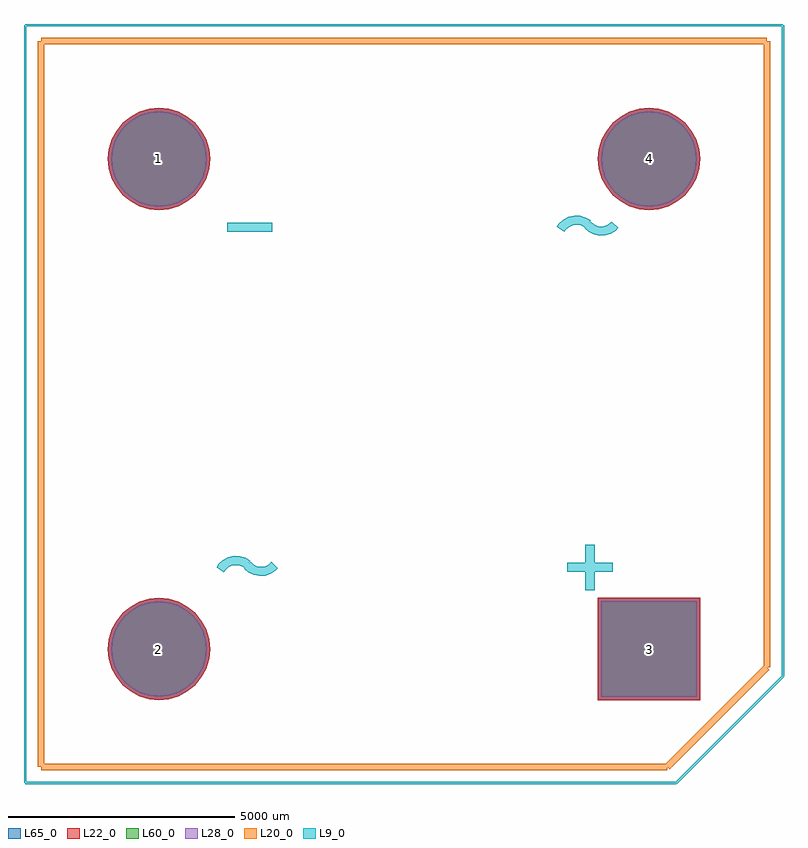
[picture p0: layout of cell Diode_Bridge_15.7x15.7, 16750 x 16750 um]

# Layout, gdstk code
import gdstk
lib = gdstk.Library(unit=1e-6, precision=1e-09)
def R(c, l, rs):  # rectangles x0, y0, x1, y1
    for r in rs: c.add(gdstk.rectangle(r[:2], r[2:], *l))
def P(c, l, *ps):  # polygons
    for p in ps: c.add(gdstk.Polygon(p, *l))
L9_0 = (9, 0)
L20_0 = (20, 0)
L22_0 = (22, 0)
L28_0 = (28, 0)
L60_0 = (60, 0)
L65_0 = (65, 0)

diode_bridge_15_7x15_7 = lib.new_cell('Diode_Bridge_15.7x15.7')
R(diode_bridge_15_7x15_7, L22_0, [(9675,-11925,11925,-9675)])
P(diode_bridge_15_7x15_7, L22_0, [(11925,0),(11903.383,219.477),(11839.364,430.519),(11735.403,625.017),(11595.495,795.495),(11425.017,935.403),(11230.519,1039.364),(11019.477,1103.383),(10800,1125),(10580.523,1103.383),(10369.481,1039.364),(10174.983,935.403),(10004.505,795.495),(9864.597,625.017),(9760.636,430.519),(9696.617,219.477),(9675,0),(9696.617,-219.477),(9760.636,-430.519),(9864.597,-625.017),(10004.505,-795.495),(10174.983,-935.403),(10369.481,-1039.364),(10580.523,-1103.383),(10800,-1125),(11019.477,-1103.383),(11230.519,-1039.364),(11425.017,-935.403),(11595.495,-795.495),(11735.403,-625.017),(11839.364,-430.519),(11903.383,-219.477)],
  [(1125,-10800),(1103.383,-10580.523),(1039.364,-10369.481),(935.403,-10174.983),(795.495,-10004.505),(625.017,-9864.597),(430.519,-9760.636),(219.477,-9696.617),(0,-9675),(-219.477,-9696.617),(-430.519,-9760.636),(-625.017,-9864.597),(-795.495,-10004.505),(-935.403,-10174.983),(-1039.364,-10369.481),(-1103.383,-10580.523),(-1125,-10800),(-1103.383,-11019.477),(-1039.364,-11230.519),(-935.403,-11425.017),(-795.495,-11595.495),(-625.017,-11735.403),(-430.519,-11839.364),(-219.477,-11903.383),(0,-11925),(219.477,-11903.383),(430.519,-11839.364),(625.017,-11735.403),(795.495,-11595.495),(935.403,-11425.017),(1039.364,-11230.519),(1103.383,-11019.477)],
  [(1125,0),(1103.383,219.477),(1039.364,430.519),(935.403,625.017),(795.495,795.495),(625.017,935.403),(430.519,1039.364),(219.477,1103.383),(0,1125),(-219.477,1103.383),(-430.519,1039.364),(-625.017,935.403),(-795.495,795.495),(-935.403,625.017),(-1039.364,430.519),(-1103.383,219.477),(-1125,0),(-1103.383,-219.477),(-1039.364,-430.519),(-935.403,-625.017),(-795.495,-795.495),(-625.017,-935.403),(-430.519,-1039.364),(-219.477,-1103.383),(0,-1125),(219.477,-1103.383),(430.519,-1039.364),(625.017,-935.403),(795.495,-795.495),(935.403,-625.017),(1039.364,-430.519),(1103.383,-219.477)])
R(diode_bridge_15_7x15_7, L28_0, [(9750,-11850,11850,-9750)])
P(diode_bridge_15_7x15_7, L28_0, [(11850,0),(11829.825,204.845),(11770.074,401.818),(11673.043,583.349),(11542.462,742.462),(11383.349,873.043),(11201.818,970.074),(11004.845,1029.825),(10800,1050),(10595.155,1029.825),(10398.182,970.074),(10216.651,873.043),(10057.538,742.462),(9926.957,583.349),(9829.926,401.818),(9770.175,204.845),(9750,0),(9770.175,-204.845),(9829.926,-401.818),(9926.957,-583.349),(10057.538,-742.462),(10216.651,-873.043),(10398.182,-970.074),(10595.155,-1029.825),(10800,-1050),(11004.845,-1029.825),(11201.818,-970.074),(11383.349,-873.043),(11542.462,-742.462),(11673.043,-583.349),(11770.074,-401.818),(11829.825,-204.845)],
  [(1050,-10800),(1029.825,-10595.155),(970.074,-10398.182),(873.043,-10216.651),(742.462,-10057.538),(583.349,-9926.957),(401.818,-9829.926),(204.845,-9770.175),(0,-9750),(-204.845,-9770.175),(-401.818,-9829.926),(-583.349,-9926.957),(-742.462,-10057.538),(-873.043,-10216.651),(-970.074,-10398.182),(-1029.825,-10595.155),(-1050,-10800),(-1029.825,-11004.845),(-970.074,-11201.818),(-873.043,-11383.349),(-742.462,-11542.462),(-583.349,-11673.043),(-401.818,-11770.074),(-204.845,-11829.825),(0,-11850),(204.845,-11829.825),(401.818,-11770.074),(583.349,-11673.043),(742.462,-11542.462),(873.043,-11383.349),(970.074,-11201.818),(1029.825,-11004.845)],
  [(1050,0),(1029.825,204.845),(970.074,401.818),(873.043,583.349),(742.462,742.462),(583.349,873.043),(401.818,970.074),(204.845,1029.825),(0,1050),(-204.845,1029.825),(-401.818,970.074),(-583.349,873.043),(-742.462,742.462),(-873.043,583.349),(-970.074,401.818),(-1029.825,204.845),(-1050,0),(-1029.825,-204.845),(-970.074,-401.818),(-873.043,-583.349),(-742.462,-742.462),(-583.349,-873.043),(-401.818,-970.074),(-204.845,-1029.825),(0,-1050),(204.845,-1029.825),(401.818,-970.074),(583.349,-873.043),(742.462,-742.462),(873.043,-583.349),(970.074,-401.818),(1029.825,-204.845)])
R(diode_bridge_15_7x15_7, L60_0, [(9750,-11850,11850,-9750)])
P(diode_bridge_15_7x15_7, L60_0, [(11850,0),(11829.825,204.845),(11770.074,401.818),(11673.043,583.349),(11542.462,742.462),(11383.349,873.043),(11201.818,970.074),(11004.845,1029.825),(10800,1050),(10595.155,1029.825),(10398.182,970.074),(10216.651,873.043),(10057.538,742.462),(9926.957,583.349),(9829.926,401.818),(9770.175,204.845),(9750,0),(9770.175,-204.845),(9829.926,-401.818),(9926.957,-583.349),(10057.538,-742.462),(10216.651,-873.043),(10398.182,-970.074),(10595.155,-1029.825),(10800,-1050),(11004.845,-1029.825),(11201.818,-970.074),(11383.349,-873.043),(11542.462,-742.462),(11673.043,-583.349),(11770.074,-401.818),(11829.825,-204.845)],
  [(1050,-10800),(1029.825,-10595.155),(970.074,-10398.182),(873.043,-10216.651),(742.462,-10057.538),(583.349,-9926.957),(401.818,-9829.926),(204.845,-9770.175),(0,-9750),(-204.845,-9770.175),(-401.818,-9829.926),(-583.349,-9926.957),(-742.462,-10057.538),(-873.043,-10216.651),(-970.074,-10398.182),(-1029.825,-10595.155),(-1050,-10800),(-1029.825,-11004.845),(-970.074,-11201.818),(-873.043,-11383.349),(-742.462,-11542.462),(-583.349,-11673.043),(-401.818,-11770.074),(-204.845,-11829.825),(0,-11850),(204.845,-11829.825),(401.818,-11770.074),(583.349,-11673.043),(742.462,-11542.462),(873.043,-11383.349),(970.074,-11201.818),(1029.825,-11004.845)],
  [(1050,0),(1029.825,204.845),(970.074,401.818),(873.043,583.349),(742.462,742.462),(583.349,873.043),(401.818,970.074),(204.845,1029.825),(0,1050),(-204.845,1029.825),(-401.818,970.074),(-583.349,873.043),(-742.462,742.462),(-873.043,583.349),(-970.074,401.818),(-1029.825,204.845),(-1050,0),(-1029.825,-204.845),(-970.074,-401.818),(-873.043,-583.349),(-742.462,-742.462),(-583.349,-873.043),(-401.818,-970.074),(-204.845,-1029.825),(0,-1050),(204.845,-1029.825),(401.818,-970.074),(583.349,-873.043),(742.462,-742.462),(873.043,-583.349),(970.074,-401.818),(1029.825,-204.845)])
R(diode_bridge_15_7x15_7, L65_0, [(9675,-11925,11925,-9675)])
P(diode_bridge_15_7x15_7, L65_0, [(11925,0),(11903.383,219.477),(11839.364,430.519),(11735.403,625.017),(11595.495,795.495),(11425.017,935.403),(11230.519,1039.364),(11019.477,1103.383),(10800,1125),(10580.523,1103.383),(10369.481,1039.364),(10174.983,935.403),(10004.505,795.495),(9864.597,625.017),(9760.636,430.519),(9696.617,219.477),(9675,0),(9696.617,-219.477),(9760.636,-430.519),(9864.597,-625.017),(10004.505,-795.495),(10174.983,-935.403),(10369.481,-1039.364),(10580.523,-1103.383),(10800,-1125),(11019.477,-1103.383),(11230.519,-1039.364),(11425.017,-935.403),(11595.495,-795.495),(11735.403,-625.017),(11839.364,-430.519),(11903.383,-219.477)],
  [(1125,-10800),(1103.383,-10580.523),(1039.364,-10369.481),(935.403,-10174.983),(795.495,-10004.505),(625.017,-9864.597),(430.519,-9760.636),(219.477,-9696.617),(0,-9675),(-219.477,-9696.617),(-430.519,-9760.636),(-625.017,-9864.597),(-795.495,-10004.505),(-935.403,-10174.983),(-1039.364,-10369.481),(-1103.383,-10580.523),(-1125,-10800),(-1103.383,-11019.477),(-1039.364,-11230.519),(-935.403,-11425.017),(-795.495,-11595.495),(-625.017,-11735.403),(-430.519,-11839.364),(-219.477,-11903.383),(0,-11925),(219.477,-11903.383),(430.519,-11839.364),(625.017,-11735.403),(795.495,-11595.495),(935.403,-11425.017),(1039.364,-11230.519),(1103.383,-11019.477)],
  [(1125,0),(1103.383,219.477),(1039.364,430.519),(935.403,625.017),(795.495,795.495),(625.017,935.403),(430.519,1039.364),(219.477,1103.383),(0,1125),(-219.477,1103.383),(-430.519,1039.364),(-625.017,935.403),(-795.495,795.495),(-935.403,625.017),(-1039.364,430.519),(-1103.383,219.477),(-1125,0),(-1103.383,-219.477),(-1039.364,-430.519),(-935.403,-625.017),(-795.495,-795.495),(-625.017,-935.403),(-430.519,-1039.364),(-219.477,-1103.383),(0,-1125),(219.477,-1103.383),(430.519,-1039.364),(625.017,-935.403),(795.495,-795.495),(935.403,-625.017),(1039.364,-430.519),(1103.383,-219.477)])
diode_bridge_15_7x15_7.add(gdstk.FlexPath([(-2600,-13400),(-2600,2600)], 149.998, ends="flush", simple_path=True, layer=20, datatype=0))  # L20_0
diode_bridge_15_7x15_7.add(gdstk.FlexPath([(-2600,2600),(13400,2600)], 149.998, ends="flush", simple_path=True, layer=20, datatype=0))  # L20_0
diode_bridge_15_7x15_7.add(gdstk.FlexPath([(11200,-13400),(-2600,-13400)], 149.998, ends="flush", simple_path=True, layer=20, datatype=0))  # L20_0
diode_bridge_15_7x15_7.add(gdstk.FlexPath([(13400,-11200),(11200,-13400)], 149.998, ends="flush", simple_path=True, layer=20, datatype=0))  # L20_0
diode_bridge_15_7x15_7.add(gdstk.FlexPath([(13400,2600),(13400,-11200)], 149.998, ends="flush", simple_path=True, layer=20, datatype=0))  # L20_0
diode_bridge_15_7x15_7.add(gdstk.FlexPath([(13750,2950),(13750,-11400)], 50, ends="flush", simple_path=True, layer=9, datatype=0))  # L9_0
diode_bridge_15_7x15_7.add(gdstk.FlexPath([(-2950,2950),(13750,2950)], 50, ends="flush", simple_path=True, layer=9, datatype=0))  # L9_0
diode_bridge_15_7x15_7.add(gdstk.FlexPath([(-2950,-13750),(-2950,2950)], 50, ends="flush", simple_path=True, layer=9, datatype=0))  # L9_0
diode_bridge_15_7x15_7.add(gdstk.FlexPath([(11400,-13750),(-2950,-13750)], 50, ends="flush", simple_path=True, layer=9, datatype=0))  # L9_0
diode_bridge_15_7x15_7.add(gdstk.FlexPath([(13750,-11400),(11400,-13750)], 50, ends="flush", simple_path=True, layer=9, datatype=0))  # L9_0
diode_bridge_15_7x15_7.add(gdstk.FlexPath([(2500,-1500),(1500,-1500)], 200, ends="flush", simple_path=True, layer=9, datatype=0))  # L9_0
diode_bridge_15_7x15_7.add(gdstk.FlexPath([(9500,-8500),(9500,-9500)], 200, ends="flush", simple_path=True, layer=9, datatype=0))  # L9_0
diode_bridge_15_7x15_7.add(gdstk.FlexPath([(9000,-9000),(10000,-9000)], 200, ends="flush", simple_path=True, layer=9, datatype=0))  # L9_0
diode_bridge_15_7x15_7.add(gdstk.FlexPath([(1957.738,-8940.047),(1868.734,-8883.901),(1768.231,-8852.704),(1663.078,-8848.582),(1560.442,-8871.816),(1467.316,-8920.822),(1390.047,-8992.262),(1350,-9050)], 200, ends="flush", simple_path=True, layer=9, datatype=0))  # L9_0
diode_bridge_15_7x15_7.add(gdstk.FlexPath([(1951.704,-8952.03),(2027.098,-9020.647),(2117.683,-9067.413),(2217.285,-9089.139),(2319.116,-9084.347),(2416.238,-9053.362),(2502.03,-8998.296),(2550,-8950)], 200, ends="flush", simple_path=True, layer=9, datatype=0))  # L9_0
diode_bridge_15_7x15_7.add(gdstk.FlexPath([(9451.704,-1452.03),(9527.098,-1520.647),(9617.683,-1567.413),(9717.285,-1589.139),(9819.116,-1584.347),(9916.238,-1553.362),(10002.03,-1498.296),(10050,-1450)], 200, ends="flush", simple_path=True, layer=9, datatype=0))  # L9_0
diode_bridge_15_7x15_7.add(gdstk.FlexPath([(9457.738,-1440.047),(9368.734,-1383.901),(9268.231,-1352.704),(9163.078,-1348.582),(9060.442,-1371.816),(8967.316,-1420.822),(8890.047,-1492.262),(8850,-1550)], 200, ends="flush", simple_path=True, layer=9, datatype=0))  # L9_0
diode_bridge_15_7x15_7.add(gdstk.Label('4', (10800,0), layer=28, texttype=0))
diode_bridge_15_7x15_7.add(gdstk.Label('3', (10800,-10800), layer=28, texttype=0))
diode_bridge_15_7x15_7.add(gdstk.Label('2', (0,-10800), layer=28, texttype=0))
diode_bridge_15_7x15_7.add(gdstk.Label('1', (0,0), layer=28, texttype=0))
diode_bridge_15_7x15_7.add(gdstk.Label('type', (5100,-14700), layer=9, texttype=0))
diode_bridge_15_7x15_7.add(gdstk.Label('devicename', (-250,3650), layer=9, texttype=0))

lib.write_gds('Diode_Bridge_15.7x15.7.gds')
